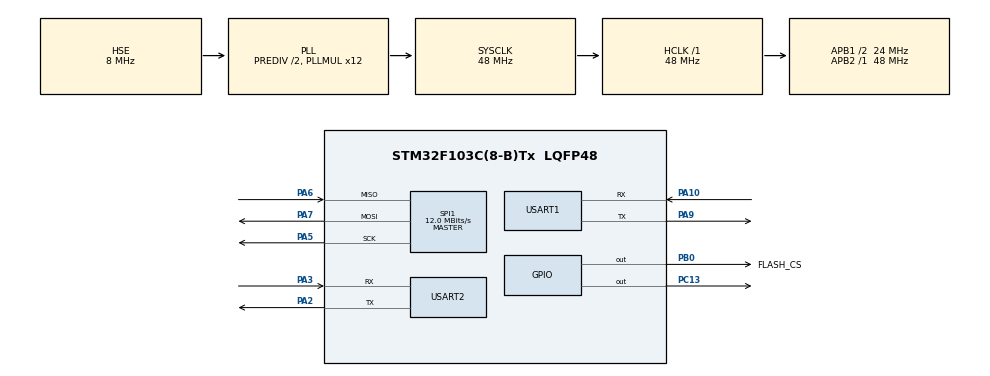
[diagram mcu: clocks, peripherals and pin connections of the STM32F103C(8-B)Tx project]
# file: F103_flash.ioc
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Mcu.Family=STM32F1
RCC.PLLSourceVirtual=RCC_PLLSOURCE_HSE
Dma.USART1_TX.1.Instance=DMA1_Channel4
PA6.Mode=Full_Duplex_Master
PA7.Mode=Full_Duplex_Master
NVIC.DMA1_Channel5_IRQn=true\:0\:0\:false\:false\:true\:false\:true
PD1-OSC_OUT.Mode=HSE-External-Oscillator
Dma.USART1_RX.0.PeriphDataAlignment=DMA_PDATAALIGN_BYTE
PA10.Mode=Asynchronous
SPI1.VirtualType=VM_MASTER
Dma.USART1_TX.1.MemInc=DMA_MINC_ENABLE
PC13-TAMPER-RTC.Signal=GPIO_Output
PB0.GPIO_Label=FLASH_CS
PD0-OSC_IN.Signal=RCC_OSC_IN
RCC.APB1CLKDivider=RCC_HCLK_DIV2
NVIC.USART2_IRQn=true\:0\:0\:false\:false\:true\:true\:true
RCC.SYSCLKSource=RCC_SYSCLKSOURCE_PLLCLK
ProjectManager.StackSize=0x400
PD1-OSC_OUT.Signal=RCC_OSC_OUT
PA13.Signal=SYS_JTMS-SWDIO
PA3.Mode=Asynchronous
PA9.Mode=Asynchronous
ProjectManager.TargetToolchain=STM32CubeIDE
SPI1.Direction=SPI_DIRECTION_2LINES
Dma.USART1_RX.0.Direction=DMA_PERIPH_TO_MEMORY
RCC.HCLKFreq_Value=48000000
RCC.APB2TimFreq_Value=48000000
PA9.Signal=USART1_TX
SPI1.CalculateBaudRate=12.0 MBits/s
RCC.USBFreq_Value=48000000
RCC.AHBFreq_Value=48000000
Dma.USART1_RX.0.PeriphInc=DMA_PINC_DISABLE
Dma.USART1_RX.0.Priority=DMA_PRIORITY_LOW
PD0-OSC_IN.Mode=HSE-External-Oscillator
PA5.Signal=SPI1_SCK
Dma.USART1_TX.1.MemDataAlignment=DMA_MDATAALIGN_BYTE
board=custom
RCC.PLLMUL=RCC_PLL_MUL12
RCC.APB2Freq_Value=48000000
SPI1.Mode=SPI_MODE_MASTER
PA14.Mode=Serial_Wire
Dma.USART1_RX.0.MemDataAlignment=DMA_MDATAALIGN_BYTE
Dma.USART1_RX.0.MemInc=DMA_MINC_ENABLE
PA13.Mode=Serial_Wire
Mcu.Name=STM32F103C(8-B)Tx
Dma.USART1_TX.1.PeriphDataAlignment=DMA_PDATAALIGN_BYTE
PA2.Signal=USART2_TX
RCC.SYSCLKFreq_VALUE=48000000
Mcu.Package=LQFP48
PA6.Signal=SPI1_MISO
USART2.VirtualMode=VM_ASYNC
RCC.EnbaleCSS=true
RCC.HSEDivPLL=RCC_HSE_PREDIV_DIV2
Dma.USART1_TX.1.Mode=DMA_NORMAL
USART1.VirtualMode=VM_ASYNC
PA10.Signal=USART1_RX
PA14.Signal=SYS_JTCK-SWCLK
ProjectManager.HeapSize=0x200
Dma.USART1_TX.1.PeriphInc=DMA_PINC_DISABLE
NVIC.PriorityGroup=NVIC_PRIORITYGROUP_4
Dma.Request1=USART1_TX
RCC.APB1TimFreq_Value=48000000
PA2.Mode=Asynchronous
Dma.USART1_RX.0.Mode=DMA_NORMAL
Dma.USART1_TX.1.Priority=DMA_PRIORITY_LOW
NVIC.DMA1_Channel4_IRQn=true\:0\:0\:false\:false\:true\:false\:true
NVIC.USART1_IRQn=true\:0\:0\:false\:false\:true\:true\:true
Dma.Request0=USART1_RX
RCC.APB1Freq_Value=24000000
SPI1.BaudRatePrescaler=SPI_BAUDRATEPRESCALER_4
PB0.Signal=GPIO_Output
Dma.USART1_RX.0.Instance=DMA1_Channel5
PA3.Signal=USART2_RX
PA7.Signal=SPI1_MOSI
PA5.Mode=Full_Duplex_Master
Dma.USART1_TX.1.Direction=DMA_MEMORY_TO_PERIPH

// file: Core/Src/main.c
/* USER CODE BEGIN Header */
/**
  ******************************************************************************
  * @file           : main.c
  * @brief          : Main program body
  ******************************************************************************
  * @attention
  *
  * <h2><center>&copy; Copyright (c) 2022 STMicroelectronics.
  * All rights reserved.</center></h2>
  *
  * This software component is licensed by ST under BSD 3-Clause license,
  * the "License"; You may not use this file except in compliance with the
  * License. You may obtain a copy of the License at:
  *                        opensource.org/licenses/BSD-3-Clause
  *
  ******************************************************************************
  */
/* USER CODE END Header */
#include "main.h"

/* USER CODE BEGIN Includes */
#include <stdlib.h>
#include <string.h>
#include "w25qxx.h"
/* USER CODE END Includes */

/* USER CODE BEGIN PD */
#define DEFAULT_SIZE_WRITE_STM 128
#define BUFFER_SIZE 400 // Size of buffers for
/* USER CODE END PD */

SPI_HandleTypeDef hspi1;

UART_HandleTypeDef huart1;
UART_HandleTypeDef huart2;
DMA_HandleTypeDef hdma_usart1_rx;
DMA_HandleTypeDef hdma_usart1_tx;

/* USER CODE BEGIN PV */
uint8_t RX=0;
uint8_t receive_buffer[BUFFER_SIZE] = {}; // buffer for receive
uint8_t transmit_buffer[BUFFER_SIZE] = {}; // buffer for transmit
uint8_t START_SECTOR_OF_FIRMWARE = 0;
uint32_t firmware_size = 0; //size of firmware
uint32_t count_of_read = 0;
uint32_t SIZE_BLOCK = DEFAULT_SIZE_WRITE_STM;
uint8_t Size_of_firmwware[3] = {};
/* USER CODE END PV */

void SystemClock_Config(void);
static void MX_GPIO_Init(void);
static void MX_DMA_Init(void);
static void MX_USART1_UART_Init(void);
static void MX_SPI1_Init(void);
static void MX_USART2_UART_Init(void);

int main(void)
{

  /* MCU Configuration--------------------------------------------------------*/

  /* Reset of all peripherals, Initializes the Flash interface and the Systick. */
  HAL_Init();

  /* Configure the system clock */
  SystemClock_Config();

  /* Initialize all configured peripherals */
  MX_GPIO_Init();
  MX_DMA_Init();
  MX_USART1_UART_Init();
  MX_SPI1_Init();
  MX_USART2_UART_Init();
  /* USER CODE BEGIN 2 */
  __HAL_UART_ENABLE_IT(&huart1, UART_IT_IDLE);
  W25qxx_Init(); // initial flash
  /* USER CODE END 2 */

  /* Infinite loop */
  /* USER CODE BEGIN WHILE */
  while (1)
  {
	  RX = 0;
	  memset(receive_buffer, 0, BUFFER_SIZE);
	  HAL_UART_Receive_DMA(&huart1, receive_buffer, 20);
	  while(!RX) {}
	  HAL_UART_DMAStop(&huart1);
	  //HAL_UART_Transmit(&huart1,receive_buffer,20,5000);

	  switch(receive_buffer[0])
	  {
	  	  case 0x1A : // START_READ
	  		START_SECTOR_OF_FIRMWARE = receive_buffer[1];

	  		//page were locate size of firmware
	  		uint32_t adr_firmw_size = 16 * START_SECTOR_OF_FIRMWARE;

	  		memset(receive_buffer, 0, 4);
	  		// read size of firmware
	  		W25qxx_ReadPage(receive_buffer, adr_firmw_size, 0, 3);

	  		firmware_size = (uint32_t)receive_buffer[0];
	  		firmware_size <<= 8;
	  		firmware_size += (uint32_t)receive_buffer[1];
	  		firmware_size <<= 8;
	  		firmware_size += (uint32_t)receive_buffer[2];

	  		// make FIRM_SIZE
	  		transmit_buffer[0] = 0x1C;
	  		transmit_buffer[1] = receive_buffer[0];
	  		transmit_buffer[2] = receive_buffer[1];
	  		transmit_buffer[3] = receive_buffer[2];
	  		HAL_UART_Transmit(&huart1,transmit_buffer,4,5000); // send FIRM_SIZE

	  		HAL_Delay(5);

	  		SIZE_BLOCK = DEFAULT_SIZE_WRITE_STM;

	  		count_of_read = firmware_size / SIZE_BLOCK; // count of read from flash

	  		// ******* start read firmware ************
			for (uint32_t i = 0 ; i <= count_of_read; i++)
			{
			  // change SIZE_BLOCK if last block has less size
			  if (i == count_of_read)
			  {
				  SIZE_BLOCK = firmware_size % (uint32_t)DEFAULT_SIZE_WRITE_STM;
			  }

			  memset(receive_buffer, 0, BUFFER_SIZE); //clear buffer for firmware
			  int32_t page_start =  DEFAULT_SIZE_WRITE_STM * i + 4096 * (START_SECTOR_OF_FIRMWARE + 1); // number of start page
			  //if (i >= 1)
				//  page_start += i;

			  W25qxx_ReadBytes(receive_buffer + 2, page_start, SIZE_BLOCK);

			  receive_buffer[0] = 0x1F;
			  receive_buffer[1] = SIZE_BLOCK;

			  uint8_t rec_size = SIZE_BLOCK + 2;

			  HAL_UART_Transmit(&huart1,receive_buffer,rec_size,5000); // send FIRM_DATA_READ

			  HAL_Delay(2);
			}

	  	  break;

	  	  case 0x1B : // START_WRITE

	  		SIZE_BLOCK = 256;
	  		START_SECTOR_OF_FIRMWARE = receive_buffer[1];

	  		firmware_size = (uint32_t)receive_buffer[2];
			firmware_size <<= 8;
			firmware_size += (uint32_t)receive_buffer[3];
			firmware_size <<= 8;
			firmware_size += (uint32_t)receive_buffer[4];

			// make WRITE_READY
			transmit_buffer[0] = 0x1D;
			transmit_buffer[1] = 0x10;

			uint32_t count_of_pages = (firmware_size / 256) + ((firmware_size % 256) ? 1 : 0);
			uint32_t count_of_sectors = (firmware_size / 4096) + ((firmware_size % 4096) ? 1 : 0);

			HAL_UART_Transmit(&huart2,&count_of_sectors,1,5000);
			// clear memory before writing
			for (uint32_t i = 0; i <= count_of_sectors; i++)
			{
			  // sectors for clear
			  uint32_t tmp = i + START_SECTOR_OF_FIRMWARE;
			  W25qxx_EraseSector(tmp);
			}

			Size_of_firmwware[0] = receive_buffer[2];
			Size_of_firmwware[1] = receive_buffer[3];
			Size_of_firmwware[2] = receive_buffer[4];

			int32_t page_start1 = 16 * START_SECTOR_OF_FIRMWARE;

			W25qxx_WritePage(Size_of_firmwware, page_start1, 0, 3);
			HAL_Delay(300);

			HAL_UART_Transmit(&huart1,transmit_buffer,2,5000); // send WRITE_READY

			for (uint32_t i = 0; i < count_of_pages; i++)
			{
				RX = 0;
				memset(receive_buffer, 0, BUFFER_SIZE);
				HAL_UART_Receive_DMA(&huart1, receive_buffer, BUFFER_SIZE);
				while(!RX) {}
				HAL_UART_DMAStop(&huart1);

				if (receive_buffer[0] != 0x1E)
					break;

				int32_t page_start =  i + 16 * (START_SECTOR_OF_FIRMWARE + 1); // number of start page
				W25qxx_WritePage(receive_buffer + 2, page_start, 0, 256);
				HAL_Delay(5); //impotent!!!
			}

	  	  break;
	  }

    /* USER CODE END WHILE */

    /* USER CODE BEGIN 3 */
	 // for(uint16_t p = 0;p<60;p++)
	  //{
	//	  HAL_UART_Transmit(&huart1,receive_buffer[p],20,5000);
	 // }
  }
  /* USER CODE END 3 */
}

void SystemClock_Config(void)
{
  RCC_OscInitTypeDef RCC_OscInitStruct = {0};
  RCC_ClkInitTypeDef RCC_ClkInitStruct = {0};

  /** Initializes the RCC Oscillators according to the specified parameters
  * in the RCC_OscInitTypeDef structure.
  */
  RCC_OscInitStruct.OscillatorType = RCC_OSCILLATORTYPE_HSE;
  RCC_OscInitStruct.HSEState = RCC_HSE_ON;
  RCC_OscInitStruct.HSEPredivValue = RCC_HSE_PREDIV_DIV2;
  RCC_OscInitStruct.HSIState = RCC_HSI_ON;
  RCC_OscInitStruct.PLL.PLLState = RCC_PLL_ON;
  RCC_OscInitStruct.PLL.PLLSource = RCC_PLLSOURCE_HSE;
  RCC_OscInitStruct.PLL.PLLMUL = RCC_PLL_MUL12;
  if (HAL_RCC_OscConfig(&RCC_OscInitStruct) != HAL_OK)
  {
    Error_Handler();
  }
  /** Initializes the CPU, AHB and APB buses clocks
  */
  RCC_ClkInitStruct.ClockType = RCC_CLOCKTYPE_HCLK|RCC_CLOCKTYPE_SYSCLK
                              |RCC_CLOCKTYPE_PCLK1|RCC_CLOCKTYPE_PCLK2;
  RCC_ClkInitStruct.SYSCLKSource = RCC_SYSCLKSOURCE_PLLCLK;
  RCC_ClkInitStruct.AHBCLKDivider = RCC_SYSCLK_DIV1;
  RCC_ClkInitStruct.APB1CLKDivider = RCC_HCLK_DIV2;
  RCC_ClkInitStruct.APB2CLKDivider = RCC_HCLK_DIV1;

  if (HAL_RCC_ClockConfig(&RCC_ClkInitStruct, FLASH_LATENCY_1) != HAL_OK)
  {
    Error_Handler();
  }
  /** Enables the Clock Security System
  */
  HAL_RCC_EnableCSS();
}

static void MX_SPI1_Init(void)
{

  /* SPI1 parameter configuration*/
  hspi1.Instance = SPI1;
  hspi1.Init.Mode = SPI_MODE_MASTER;
  hspi1.Init.Direction = SPI_DIRECTION_2LINES;
  hspi1.Init.DataSize = SPI_DATASIZE_8BIT;
  hspi1.Init.CLKPolarity = SPI_POLARITY_LOW;
  hspi1.Init.CLKPhase = SPI_PHASE_1EDGE;
  hspi1.Init.NSS = SPI_NSS_SOFT;
  hspi1.Init.BaudRatePrescaler = SPI_BAUDRATEPRESCALER_4;
  hspi1.Init.FirstBit = SPI_FIRSTBIT_MSB;
  hspi1.Init.TIMode = SPI_TIMODE_DISABLE;
  hspi1.Init.CRCCalculation = SPI_CRCCALCULATION_DISABLE;
  hspi1.Init.CRCPolynomial = 10;
  if (HAL_SPI_Init(&hspi1) != HAL_OK)
  {
    Error_Handler();
  }

}

static void MX_USART1_UART_Init(void)
{

  huart1.Instance = USART1;
  huart1.Init.BaudRate = 115200;
  huart1.Init.WordLength = UART_WORDLENGTH_8B;
  huart1.Init.StopBits = UART_STOPBITS_1;
  huart1.Init.Parity = UART_PARITY_NONE;
  huart1.Init.Mode = UART_MODE_TX_RX;
  huart1.Init.HwFlowCtl = UART_HWCONTROL_NONE;
  huart1.Init.OverSampling = UART_OVERSAMPLING_16;
  if (HAL_UART_Init(&huart1) != HAL_OK)
  {
    Error_Handler();
  }

}

static void MX_USART2_UART_Init(void)
{

  huart2.Instance = USART2;
  huart2.Init.BaudRate = 115200;
  huart2.Init.WordLength = UART_WORDLENGTH_8B;
  huart2.Init.StopBits = UART_STOPBITS_1;
  huart2.Init.Parity = UART_PARITY_NONE;
  huart2.Init.Mode = UART_MODE_TX_RX;
  huart2.Init.HwFlowCtl = UART_HWCONTROL_NONE;
  huart2.Init.OverSampling = UART_OVERSAMPLING_16;
  if (HAL_UART_Init(&huart2) != HAL_OK)
  {
    Error_Handler();
  }

}

static void MX_DMA_Init(void)
{

  /* DMA controller clock enable */
  __HAL_RCC_DMA1_CLK_ENABLE();

  /* DMA interrupt init */
  /* DMA1_Channel4_IRQn interrupt configuration */
  HAL_NVIC_SetPriority(DMA1_Channel4_IRQn, 0, 0);
  HAL_NVIC_EnableIRQ(DMA1_Channel4_IRQn);
  /* DMA1_Channel5_IRQn interrupt configuration */
  HAL_NVIC_SetPriority(DMA1_Channel5_IRQn, 0, 0);
  HAL_NVIC_EnableIRQ(DMA1_Channel5_IRQn);

}

static void MX_GPIO_Init(void)
{
  GPIO_InitTypeDef GPIO_InitStruct = {0};

  /* GPIO Ports Clock Enable */
  __HAL_RCC_GPIOC_CLK_ENABLE();
  __HAL_RCC_GPIOD_CLK_ENABLE();
  __HAL_RCC_GPIOA_CLK_ENABLE();
  __HAL_RCC_GPIOB_CLK_ENABLE();

  /*Configure GPIO pin Output Level */
  HAL_GPIO_WritePin(GPIOC, GPIO_PIN_13, GPIO_PIN_RESET);

  /*Configure GPIO pin Output Level */
  HAL_GPIO_WritePin(FLASH_CS_GPIO_Port, FLASH_CS_Pin, GPIO_PIN_RESET);

  /*Configure GPIO pin : PC13 */
  GPIO_InitStruct.Pin = GPIO_PIN_13;
  GPIO_InitStruct.Mode = GPIO_MODE_OUTPUT_PP;
  GPIO_InitStruct.Pull = GPIO_NOPULL;
  GPIO_InitStruct.Speed = GPIO_SPEED_FREQ_LOW;
  HAL_GPIO_Init(GPIOC, &GPIO_InitStruct);

  /*Configure GPIO pin : FLASH_CS_Pin */
  GPIO_InitStruct.Pin = FLASH_CS_Pin;
  GPIO_InitStruct.Mode = GPIO_MODE_OUTPUT_PP;
  GPIO_InitStruct.Pull = GPIO_NOPULL;
  GPIO_InitStruct.Speed = GPIO_SPEED_FREQ_LOW;
  HAL_GPIO_Init(FLASH_CS_GPIO_Port, &GPIO_InitStruct);

}

/* USER CODE BEGIN 4 */
void USER_UART_IRQHandler(UART_HandleTypeDef *huart)
{
 // off half_interupt
 // file stm32f1xx_hal_uart.c
 // comment
 // Set the UART DMA Half transfer complete callback
 // huart->hdmatx->XferHalfCpltCallback = UART_DMATxHalfCplt

 if(huart == &huart1) //Determine whether it is serial port 1
 {
  if(RESET != __HAL_UART_GET_FLAG(&huart1, UART_FLAG_IDLE))   //Judging whether it is idle interruption
  {
   HAL_UART_DMAStop(&huart1);
   __HAL_UART_CLEAR_IDLEFLAG(&huart1); //Clear idle interrupt sign (otherwise it will continue to enter interrupt)
   RX = 1;
   HAL_UART_DMAStop(&huart1);
  }
 }
}
/* USER CODE END 4 */

void Error_Handler(void)
{
  __disable_irq();
  while (1)
  {
  }
}

/************************ (C) COPYRIGHT STMicroelectronics *****END OF FILE****/
